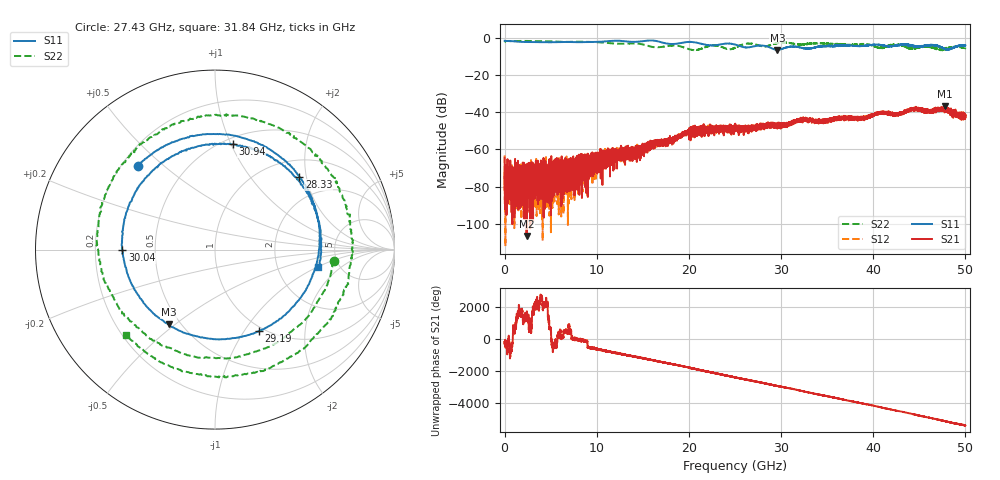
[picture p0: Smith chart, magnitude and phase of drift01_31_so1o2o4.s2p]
!Created with skrf (http://scikit-rf.org).
# Hz S RI R 50.0
!freq ReS11 ImS11 ReS21 ImS21 ReS12 ImS12 ReS22 ImS22
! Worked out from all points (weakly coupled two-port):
!   10001 points, 300 kHz to 50 GHz, reference 50 ohm
!   highest |S21| = -36.66 dB at 47.75 GHz (marker M1); lowest = -106.7 dB at 2.385 GHz (marker M2)
!   lowest |S11| = -6.2 dB at 29.61 GHz (marker M3), VSWR 2.92, Z = 21.7 - j23.7 ohm
!   |S11| at or under -10 dB: nowhere
!   |S22| runs from -6.5 to -1.4 dB; largest |S21 - S12| = 0.0044
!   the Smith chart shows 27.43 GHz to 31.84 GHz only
!   S11 on the Smith chart (normalised r, x): 27.43 GHz: 0.26, +0.41; 28.33 GHz: 1.38, +1.82; 29.19 GHz: 0.94, -1.17; 30.04 GHz: 0.32, -0.00; 30.94 GHz: 0.56, +1.01; 31.84 GHz: 3.49, -1.01
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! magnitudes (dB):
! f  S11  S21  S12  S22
! 300 kHz  -1.3  -64.4  -63.2  -2.1
! 285.3 MHz  -1.4  -77.1  -71.3  -1.4
! 2.385 GHz  -1.9  -106.7  -77.9  -1.4
! 4.555 GHz  -2.1  -74.0  -69.2  -1.6
! 5.78 GHz  -2.0  -69.7  -73.8  -1.8
! 8.335 GHz  -2.0  -69.5  -68.3  -1.8
! 16.67 GHz  -1.6  -56.5  -56.5  -4.8
! 20.33 GHz  -1.9  -50.3  -52.2  -6.2
! 22.61 GHz  -3.8  -49.6  -49.8  -3.7
! 25 GHz  -3.3  -48.0  -48.2  -5.1
! 27.43 GHz  -3.9  -47.4  -48.3  -3.6
! 28.33 GHz  -4.1  -47.5  -46.8  -4.3
! 29.19 GHz  -5.8  -46.7  -47.1  -3.1
! 29.61 GHz  -6.2  -46.5  -47.5  -2.5
! 30.04 GHz  -5.7  -46.8  -46.9  -2.3
! 30.94 GHz  -4.5  -45.9  -46.3  -2.5
! 31.84 GHz  -4.7  -43.8  -44.7  -3.3
! 33.34 GHz  -5.2  -45.6  -43.7  -2.6
! 41.67 GHz  -4.2  -39.4  -40.5  -4.3
! 46.48 GHz  -3.8  -39.3  -38.9  -5.1
! 47.75 GHz  -5.6  -36.7  -38.2  -5.4
! 50 GHz  -3.9  -41.9  -41.9  -5.3
